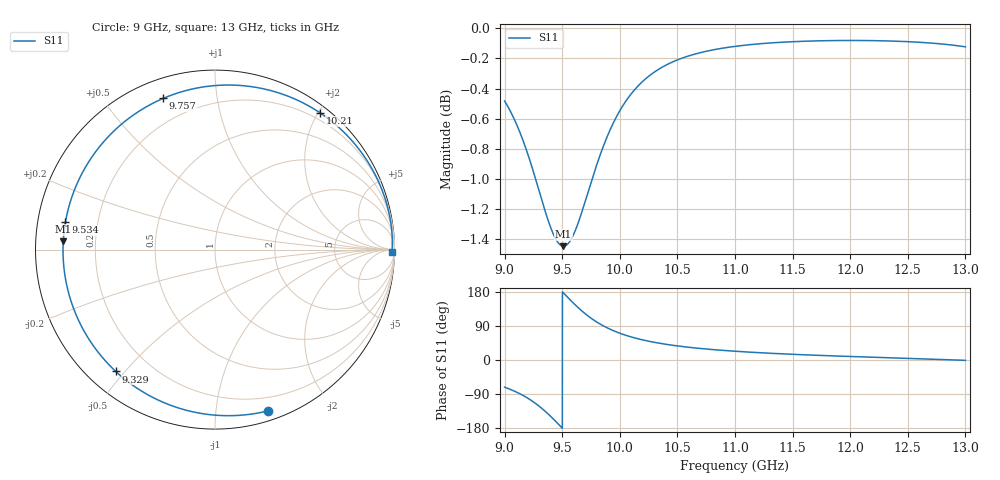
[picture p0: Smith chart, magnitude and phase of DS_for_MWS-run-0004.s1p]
! TOUCHSTONE file generated by CST DESIGN STUDIO
! Date and time: Wed Feb  5 13:34:22 2025
! Project name: C:\Work\MatlabApps\UnitCellOptimizationMatlab\CST\unitcell.cst
! Tree item: Tasks\Sweep1\SPara1\S-Parameters
! Header version: 2024
! Port assignment regex: !\s*Touchstone port\s*([0-9]+)\s*=\s*(CST MWS port|CST DES external port|CST DES block port)\s*(.+)\s* \(\"(.*)\"\)(\s*mode\s*([0-9]+))?.*
! Touchstone port assignment:
! Touchstone port 1 = CST DES external port 1 ("")
# GHz S MA R 50
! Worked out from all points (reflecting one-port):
!   4001 points, 9 GHz to 13 GHz, reference 50 ohm
!   lowest |S11| = -1.4 dB at 9.511 GHz (marker M1), VSWR 12.04, Z = 4.16 + j1.37 ohm
!   phase of S11 starts at -72 deg and turns -289 deg over the sweep
!   S11 on the Smith chart (normalised r, x): 9 GHz: 0.08, -1.38; 9.329 GHz: 0.08, -0.47; 9.534 GHz: 0.08, +0.09; 9.757 GHz: 0.09, +0.71; 10.21 GHz: 0.10, +2.03; 13 GHz: 61, -70
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9  0.946 -71.7
9.087  0.9323 -82.4
9.19  0.911 -98.8
9.262  0.8931 -113.2
9.329  0.8754 -129.2
9.374  0.8644 -141.3
9.422  0.8546 -155.3
9.462  0.8492 -167.7
9.5  0.8468 -179.7
9.511  0.8467 176.8
9.534  0.8472 169.6
9.588  0.8526 152.8
9.649  0.8641 135.3
9.702  0.8767 121.5
9.757  0.8905 108.9
9.807  0.9026 98.9
9.862  0.9148 89.3
10  0.939 70.6
10.098  0.951 60.9
10.207  0.9609 52.4
10.342  0.9694 44.3
10.5  0.9761 37.2
10.722  0.982 29.8
11  0.9863 23.1
11.5  0.9898 15.0
12  0.9907 9.3
12.5  0.9898 4.3
13  0.9859 -0.9
